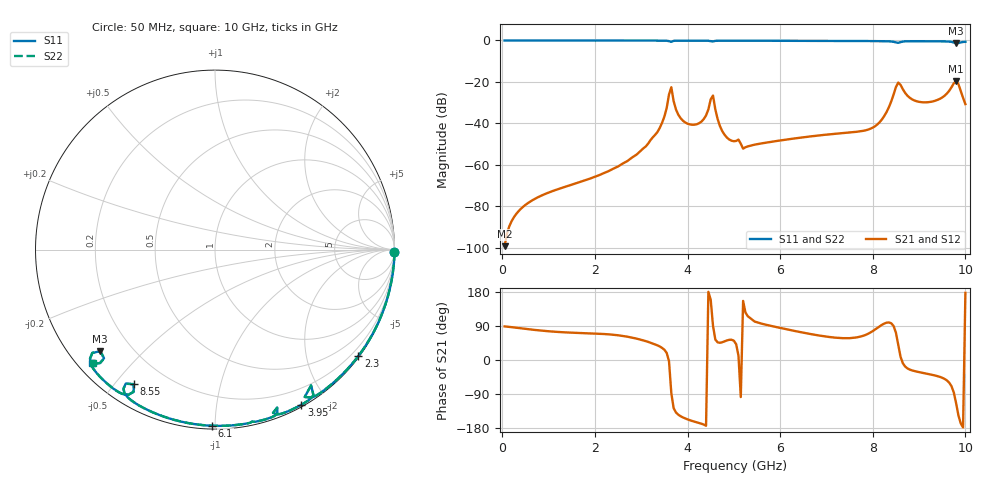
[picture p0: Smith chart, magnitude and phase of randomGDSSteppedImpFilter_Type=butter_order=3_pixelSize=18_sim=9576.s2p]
! freq	dB(S11)	phase(S11)	dB(S12)	phase(S12)
!  dB(S21)	phase(S21)	dB(S22)	phase(S22)
!S-par simulation data
#  GHz  S  DB  R 50
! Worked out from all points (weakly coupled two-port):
!   200 points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, 50 MHz to 10 GHz, reference 50 ohm
!   highest |S21| = -19.55 dB at 9.8 GHz (marker M1); lowest = -99.3 dB at 50 MHz (marker M2)
!   lowest |S11| = -1.4 dB at 9.8 GHz (marker M3), VSWR 12.72, Z = 4.49 - j18.8 ohm
!   |S11| at or under -10 dB: nowhere
!   |S22| runs from -1.4 to 0.0 dB; largest |S21 - S12| = 0
!   S11 on the Smith chart (normalised r, x): 50 MHz: open; 2.3 GHz: 0.03, -3.02; 3.95 GHz: 0.02, -1.70; 6.1 GHz: 0.02, -0.98; 8.55 GHz: 0.09, -0.56; 10 GHz: 0.04, -0.39
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0.05  -0.00 -0.8  -99.34 88.6  -99.34 88.6  -0.00 -0.8
1.75  -0.04 -28.0  -67.81 71.0  -67.81 71.0  -0.04 -28.0
2.3  -0.05 -36.6  -63.06 67.7  -63.06 67.7  -0.05 -36.6
2.9  -0.06 -45.8  -55.11 56.4  -55.11 56.4  -0.06 -45.8
3.4  -0.08 -53.7  -42.24 35.7  -42.24 35.7  -0.08 -53.7
3.65  -0.66 -54.7  -22.60 -87.4  -22.60 -87.4  -0.66 -54.7
3.75  -0.12 -57.3  -33.31 -138.4  -33.31 -138.4  -0.12 -57.3
3.95  -0.09 -60.9  -39.61 -154.3  -39.61 -154.3  -0.09 -60.9
4.3  -0.10 -66.4  -39.21 -168.1  -39.21 -168.1  -0.10 -66.4
4.55  -0.48 -68.5  -26.61 90.4  -26.61 90.4  -0.48 -68.5
4.75  -0.12 -72.1  -43.81 46.9  -43.81 46.9  -0.12 -72.1
5.05  -0.13 -76.6  -48.52 41.6  -48.52 41.6  -0.13 -76.6
5.2  -0.14 -78.5  -52.25 155.9  -52.25 155.9  -0.14 -78.5
6.1  -0.16 -90.9  -47.97 82.1  -47.97 82.1  -0.16 -90.9
6.7  -0.19 -98.9  -46.22 67.5  -46.22 67.5  -0.19 -98.9
7.95  -0.29 -115.3  -42.62 72.6  -42.62 72.6  -0.29 -115.3
8.35  -0.43 -121.4  -32.14 99.1  -32.14 99.1  -0.43 -121.4
8.55  -1.15 -121.2  -20.35 39.5  -20.35 39.5  -1.13 -121.2
8.8  -0.37 -124.0  -27.71 -25.3  -27.71 -25.3  -0.37 -124.0
9.15  -0.37 -129.4  -29.88 -35.5  -29.88 -35.5  -0.37 -129.4
9.8  -1.37 -138.6  -19.55 -114.3  -19.55 -114.3  -1.38 -138.6
10  -0.64 -137.3  -30.76 177.1  -30.76 177.1  -0.64 -137.3
